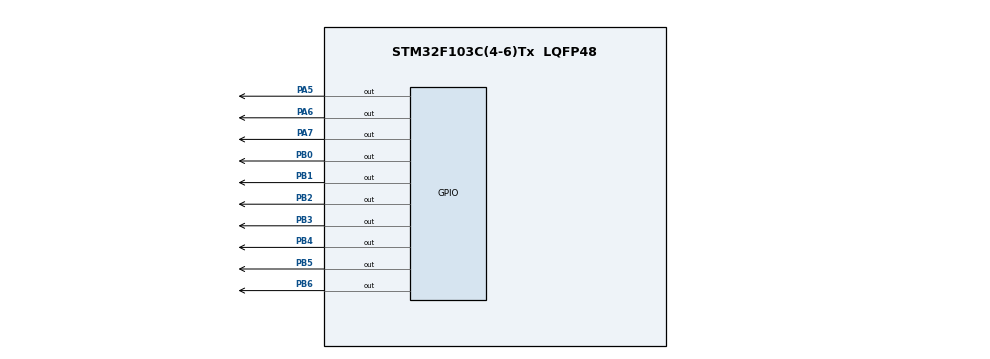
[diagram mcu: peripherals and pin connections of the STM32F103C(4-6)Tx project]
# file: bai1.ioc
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Mcu.Family=STM32F1
Mcu.Name=STM32F103C(4-6)Tx
Mcu.Package=LQFP48
NVIC.PriorityGroup=NVIC_PRIORITYGROUP_4
NVIC.TIM2_IRQn=true\:0\:0\:false\:false\:true\:true\:true\:true
PA5.Signal=GPIO_Output
PA6.Signal=GPIO_Output
PA7.Signal=GPIO_Output
PB0.Signal=GPIO_Output
PB1.Signal=GPIO_Output
PB2.Signal=GPIO_Output
PB3.Signal=GPIO_Output
PB4.Signal=GPIO_Output
PB5.Signal=GPIO_Output
PB6.Signal=GPIO_Output
ProjectManager.HeapSize=0x200
ProjectManager.StackSize=0x400
ProjectManager.TargetToolchain=STM32CubeIDE
RCC.APB1Freq_Value=8000000
RCC.APB2Freq_Value=8000000
TIM2.Period=9
TIM2.Prescaler=7999
VP_TIM2_VS_ClockSourceINT.Mode=Internal
board=custom

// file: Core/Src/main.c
/* USER CODE BEGIN Header */
/**
  ******************************************************************************
  * @file           : main.c
  * @brief          : Main program body
  ******************************************************************************
  * @attention
  *
  * Copyright (c) 2022 STMicroelectronics.
  * All rights reserved.
  *
  * This software is licensed under terms that can be found in the LICENSE file
  * in the root directory of this software component.
  * If no LICENSE file comes with this software, it is provided AS-IS.
  *
  ******************************************************************************
  */
/* USER CODE END Header */
#include "main.h"

TIM_HandleTypeDef htim2;

void SystemClock_Config(void);
static void MX_GPIO_Init(void);
static void MX_TIM2_Init(void);

int main(void)
{

  /* MCU Configuration--------------------------------------------------------*/

  /* Reset of all peripherals, Initializes the Flash interface and the Systick. */
  HAL_Init();

  /* Configure the system clock */
  SystemClock_Config();

  /* Initialize all configured peripherals */
  MX_GPIO_Init();
  MX_TIM2_Init();
  /* USER CODE BEGIN 2 */
  HAL_TIM_Base_Start_IT(&htim2) ;
  /* USER CODE END 2 */

  /* Infinite loop */
  while (1)
  {

  }
}

void SystemClock_Config(void)
{
  RCC_OscInitTypeDef RCC_OscInitStruct = {0};
  RCC_ClkInitTypeDef RCC_ClkInitStruct = {0};

  /** Initializes the RCC Oscillators according to the specified parameters
  * in the RCC_OscInitTypeDef structure.
  */
  RCC_OscInitStruct.OscillatorType = RCC_OSCILLATORTYPE_HSI;
  RCC_OscInitStruct.HSIState = RCC_HSI_ON;
  RCC_OscInitStruct.HSICalibrationValue = RCC_HSICALIBRATION_DEFAULT;
  RCC_OscInitStruct.PLL.PLLState = RCC_PLL_NONE;
  if (HAL_RCC_OscConfig(&RCC_OscInitStruct) != HAL_OK)
  {
    Error_Handler();
  }

  /** Initializes the CPU, AHB and APB buses clocks
  */
  RCC_ClkInitStruct.ClockType = RCC_CLOCKTYPE_HCLK|RCC_CLOCKTYPE_SYSCLK
                              |RCC_CLOCKTYPE_PCLK1|RCC_CLOCKTYPE_PCLK2;
  RCC_ClkInitStruct.SYSCLKSource = RCC_SYSCLKSOURCE_HSI;
  RCC_ClkInitStruct.AHBCLKDivider = RCC_SYSCLK_DIV1;
  RCC_ClkInitStruct.APB1CLKDivider = RCC_HCLK_DIV1;
  RCC_ClkInitStruct.APB2CLKDivider = RCC_HCLK_DIV1;

  if (HAL_RCC_ClockConfig(&RCC_ClkInitStruct, FLASH_LATENCY_0) != HAL_OK)
  {
    Error_Handler();
  }
}

static void MX_TIM2_Init(void)
{

  TIM_ClockConfigTypeDef sClockSourceConfig = {0};
  TIM_MasterConfigTypeDef sMasterConfig = {0};

  htim2.Instance = TIM2;
  htim2.Init.Prescaler = 7999;
  htim2.Init.CounterMode = TIM_COUNTERMODE_UP;
  htim2.Init.Period = 9;
  htim2.Init.ClockDivision = TIM_CLOCKDIVISION_DIV1;
  htim2.Init.AutoReloadPreload = TIM_AUTORELOAD_PRELOAD_DISABLE;
  if (HAL_TIM_Base_Init(&htim2) != HAL_OK)
  {
    Error_Handler();
  }
  sClockSourceConfig.ClockSource = TIM_CLOCKSOURCE_INTERNAL;
  if (HAL_TIM_ConfigClockSource(&htim2, &sClockSourceConfig) != HAL_OK)
  {
    Error_Handler();
  }
  sMasterConfig.MasterOutputTrigger = TIM_TRGO_RESET;
  sMasterConfig.MasterSlaveMode = TIM_MASTERSLAVEMODE_DISABLE;
  if (HAL_TIMEx_MasterConfigSynchronization(&htim2, &sMasterConfig) != HAL_OK)
  {
    Error_Handler();
  }

}

static void MX_GPIO_Init(void)
{
  GPIO_InitTypeDef GPIO_InitStruct = {0};

  /* GPIO Ports Clock Enable */
  __HAL_RCC_GPIOA_CLK_ENABLE();
  __HAL_RCC_GPIOB_CLK_ENABLE();

  /*Configure GPIO pin Output Level */
  HAL_GPIO_WritePin(GPIOA, GPIO_PIN_5|GPIO_PIN_6|GPIO_PIN_7, GPIO_PIN_RESET);

  /*Configure GPIO pin Output Level */
  HAL_GPIO_WritePin(GPIOB, GPIO_PIN_0|GPIO_PIN_1|GPIO_PIN_2|GPIO_PIN_3
                          |GPIO_PIN_4|GPIO_PIN_5|GPIO_PIN_6, GPIO_PIN_RESET);

  /*Configure GPIO pins : PA5 PA6 PA7 */
  GPIO_InitStruct.Pin = GPIO_PIN_5|GPIO_PIN_6|GPIO_PIN_7;
  GPIO_InitStruct.Mode = GPIO_MODE_OUTPUT_PP;
  GPIO_InitStruct.Pull = GPIO_NOPULL;
  GPIO_InitStruct.Speed = GPIO_SPEED_FREQ_LOW;
  HAL_GPIO_Init(GPIOA, &GPIO_InitStruct);

  /*Configure GPIO pins : PB0 PB1 PB2 PB3
                           PB4 PB5 PB6 */
  GPIO_InitStruct.Pin = GPIO_PIN_0|GPIO_PIN_1|GPIO_PIN_2|GPIO_PIN_3
                          |GPIO_PIN_4|GPIO_PIN_5|GPIO_PIN_6;
  GPIO_InitStruct.Mode = GPIO_MODE_OUTPUT_PP;
  GPIO_InitStruct.Pull = GPIO_NOPULL;
  GPIO_InitStruct.Speed = GPIO_SPEED_FREQ_LOW;
  HAL_GPIO_Init(GPIOB, &GPIO_InitStruct);

}

/* USER CODE BEGIN 4 */
unsigned char SEG[10] = {0x40, 0x79, 0x24, 0x30, 0x19, 0x12, 0x02, 0x78, 0x00, 0x10};
void display7SEG(int num) {
	GPIOB->ODR = SEG[num];
}
char switch7SEG = 0;
const int reset_counter1 = 100;
const int reset_counter2 = 50;
int counter1 = reset_counter1;
int counter2 = reset_counter2;
void HAL_TIM_PeriodElapsedCallback (TIM_HandleTypeDef * htim) {
	if (counter1 > 0) {
		counter1--;
		if (counter1 <= 0) {
			counter1 = 100;
			//TODO
			HAL_GPIO_TogglePin(GPIOA, GPIO_PIN_5);
		}
	}
	if (counter2 > 0) {
		counter2--;
		if (counter2 <= 0) {
			counter2 = 50;
			if (switch7SEG == 0) {
			  HAL_GPIO_WritePin(GPIOA, GPIO_PIN_6, RESET);
			  HAL_GPIO_WritePin(GPIOA, GPIO_PIN_7, SET);
			  display7SEG(1);
			} else if (switch7SEG == 1) {
			  HAL_GPIO_WritePin(GPIOA, GPIO_PIN_6, SET);
			  HAL_GPIO_WritePin(GPIOA, GPIO_PIN_7, RESET);
			  display7SEG(2);
			}
			switch7SEG = 1 - switch7SEG;
		}
	}
}
/* USER CODE END 4 */

void Error_Handler(void)
{
  __disable_irq();
  while (1)
  {
  }
}
